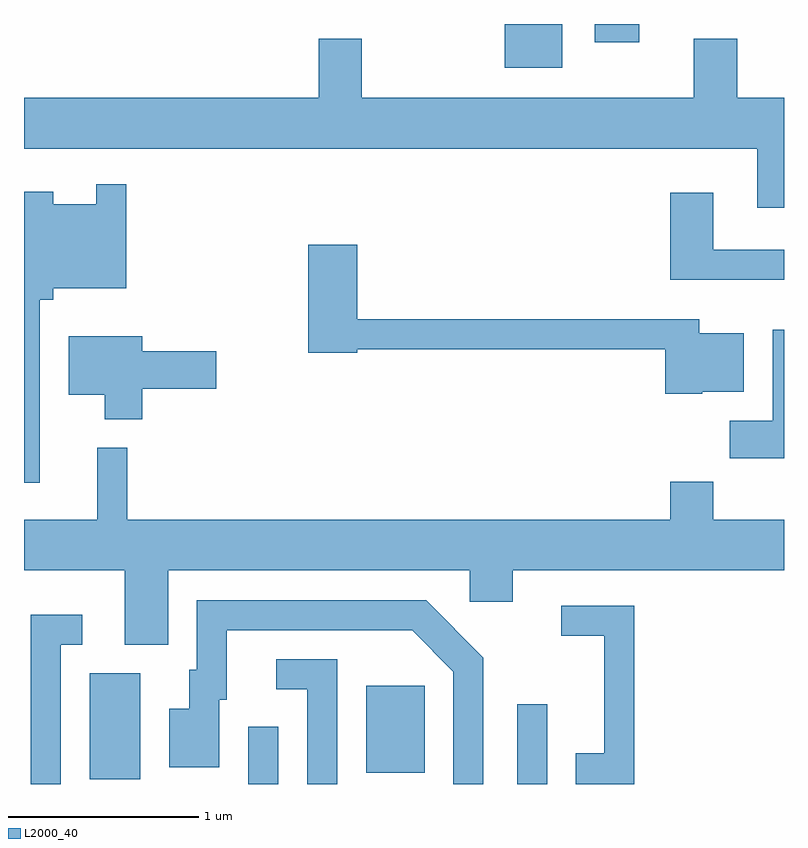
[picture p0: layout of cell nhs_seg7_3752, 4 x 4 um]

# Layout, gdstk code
import gdstk
lib = gdstk.Library(unit=1e-6, precision=1e-09)
def R(c, l, rs):  # rectangles x0, y0, x1, y1
    for r in rs: c.add(gdstk.rectangle(r[:2], r[2:], *l))
def P(c, l, *ps):  # polygons
    for p in ps: c.add(gdstk.Polygon(p, *l))
L2000_40 = (2000, 40)

nhs_seg7_3752 = lib.new_cell('nhs_seg7_3752')
R(nhs_seg7_3752, L2000_40, [(300.791,1764.252,300.949,1764.553), (302.206,1764.252,302.364,1764.673), (299.956,1764.276,300.224,1764.834), (301.411,1764.311,301.719,1764.769), (302.141,1768.021,302.444,1768.252), (302.616,1768.156,302.849,1768.252)])
P(nhs_seg7_3752, L2000_40, [(303.611,1767.864),(303.364,1767.864),(303.364,1768.174),(303.136,1768.174),(303.136,1767.864),(301.389,1767.864),(301.389,1768.174),(301.161,1768.174),(301.161,1767.864),(299.611,1767.864),(299.611,1767.596),(303.471,1767.596),(303.471,1767.286),(303.611,1767.286)],
  [(299.694,1766.801),(299.764,1766.801),(299.764,1766.861),(300.149,1766.861),(300.149,1767.408),(299.991,1767.408),(299.991,1767.304),(299.764,1767.304),(299.764,1767.369),(299.611,1767.369),(299.611,1765.838),(299.694,1765.838)],
  [(303.611,1767.064),(303.239,1767.064),(303.239,1767.364),(303.011,1767.364),(303.011,1766.906),(303.611,1766.906)],
  [(303.18,1766.316),(303.399,1766.316),(303.399,1766.624),(303.164,1766.624),(303.164,1766.699),(301.364,1766.699),(301.364,1767.089),(301.106,1767.089),(301.106,1766.521),(301.364,1766.521),(301.364,1766.541),(302.986,1766.541),(302.986,1766.306),(303.18,1766.306)],
  [(303.611,1766.644),(303.551,1766.644),(303.551,1766.164),(303.326,1766.164),(303.326,1765.966),(303.611,1765.966)],
  [(300.234,1766.331),(300.624,1766.331),(300.624,1766.529),(300.234,1766.529),(300.234,1766.609),(299.846,1766.609),(299.846,1766.301),(300.036,1766.301),(300.036,1766.171),(300.234,1766.171)],
  [(300.369,1765.376),(301.956,1765.376),(301.956,1765.211),(302.184,1765.211),(302.184,1765.376),(303.611,1765.376),(303.611,1765.644),(303.239,1765.644),(303.239,1765.844),(303.011,1765.844),(303.011,1765.644),(300.154,1765.644),(300.154,1766.023),(299.996,1766.023),(299.996,1765.644),(299.611,1765.644),(299.611,1765.376),(300.141,1765.376),(300.141,1764.986),(300.369,1764.986)],
  [(302.029,1764.917),(301.727,1765.219),(300.521,1765.219),(300.521,1764.854),(300.481,1764.854),(300.481,1764.649),(300.376,1764.649),(300.376,1764.341),(300.639,1764.341),(300.639,1764.696),(300.679,1764.696),(300.679,1765.061),(301.654,1765.061),(301.871,1764.844),(301.871,1764.252),(302.029,1764.252)],
  [(302.824,1765.189),(302.438,1765.189),(302.438,1765.031),(302.666,1765.031),(302.666,1764.414),(302.516,1764.414),(302.516,1764.252),(302.824,1764.252)],
  [(299.804,1764.986),(299.918,1764.986),(299.918,1765.144),(299.646,1765.144),(299.646,1764.252),(299.804,1764.252)],
  [(301.259,1764.909),(300.938,1764.909),(300.938,1764.751),(301.101,1764.751),(301.101,1764.252),(301.259,1764.252)])

lib.write_gds('nhs_seg7_3752.gds')
